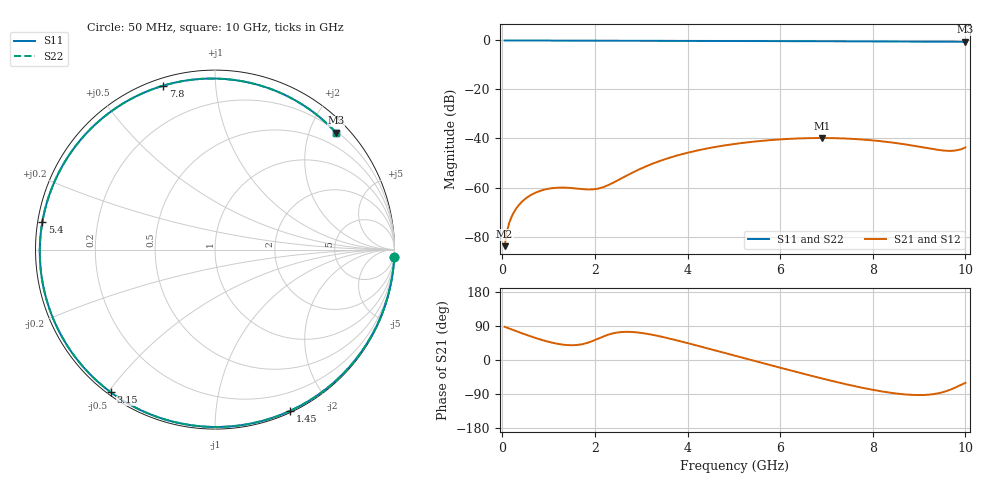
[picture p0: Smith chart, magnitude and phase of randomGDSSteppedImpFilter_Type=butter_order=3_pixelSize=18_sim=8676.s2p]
! freq	dB(S11)	phase(S11)	dB(S12)	phase(S12)
!  dB(S21)	phase(S21)	dB(S22)	phase(S22)
!S-par simulation data
#  GHz  S  DB  R 50
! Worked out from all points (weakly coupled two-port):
!   200 points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, 50 MHz to 10 GHz, reference 50 ohm
!   highest |S21| = -39.80 dB at 6.9 GHz (marker M1); lowest = -83.9 dB at 50 MHz (marker M2)
!   lowest |S11| = -0.6 dB at 10 GHz (marker M3), VSWR 30.93, Z = 11.5 + j123 ohm
!   |S11| at or under -10 dB: nowhere
!   |S22| runs from -0.6 to 0.0 dB; largest |S21 - S12| = 0
!   S11 on the Smith chart (normalised r, x): 50 MHz: 0, -48; 1.45 GHz: 0.02, -1.57; 3.15 GHz: 0.01, -0.51; 5.4 GHz: 0.01, +0.08; 7.8 GHz: 0.03, +0.73; 10 GHz: 0.23, +2.46
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0.05  -0.00 -2.4  -83.93 87.7  -83.93 87.7  -0.00 -2.4
0.25  -0.02 -11.8  -70.10 78.4  -70.10 78.4  -0.02 -11.8
0.5  -0.03 -23.3  -64.56 67.2  -64.56 67.2  -0.03 -23.3
0.9  -0.05 -41.4  -60.91 51.4  -60.91 51.4  -0.05 -41.4
1.45  -0.08 -65.0  -60.15 39.1  -60.15 39.1  -0.08 -65.0
1.75  -0.09 -77.1  -60.69 42.3  -60.69 42.3  -0.09 -77.1
2.2  -0.11 -94.1  -59.71 63.0  -59.71 63.0  -0.11 -94.1
2.65  -0.12 -109.9  -55.49 74.3  -55.49 74.3  -0.12 -109.9
3.15  -0.14 -126.2  -51.00 68.6  -51.00 68.6  -0.14 -126.2
3.4  -0.14 -133.9  -49.19 62.5  -49.19 62.5  -0.14 -133.9
4.2  -0.17 -157.1  -44.93 38.2  -44.93 38.2  -0.17 -157.1
5.05  -0.21 180.0  -42.15 10.5  -42.15 10.5  -0.21 179.9
5.4  -0.23 170.8  -41.35 -0.9  -41.35 -0.9  -0.23 170.8
6.05  -0.26 153.9  -40.30 -21.9  -40.30 -21.9  -0.26 153.9
6.7  -0.30 137.0  -39.83 -42.5  -39.83 -42.5  -0.30 136.9
6.9  -0.31 131.7  -39.80 -48.6  -39.80 -48.6  -0.31 131.7
7.8  -0.37 107.5  -40.45 -74.0  -40.45 -74.0  -0.37 107.4
8.35  -0.41 92.1  -41.49 -85.9  -41.49 -85.9  -0.41 92.1
8.95  -0.46 74.9  -43.17 -92.5  -43.17 -92.5  -0.46 74.9
9.55  -0.51 57.3  -44.96 -83.6  -44.96 -83.6  -0.51 57.2
9.8  -0.54 49.9  -44.85 -71.7  -44.85 -71.7  -0.54 49.8
10  -0.56 44.0  -43.66 -60.2  -43.66 -60.2  -0.56 43.9
